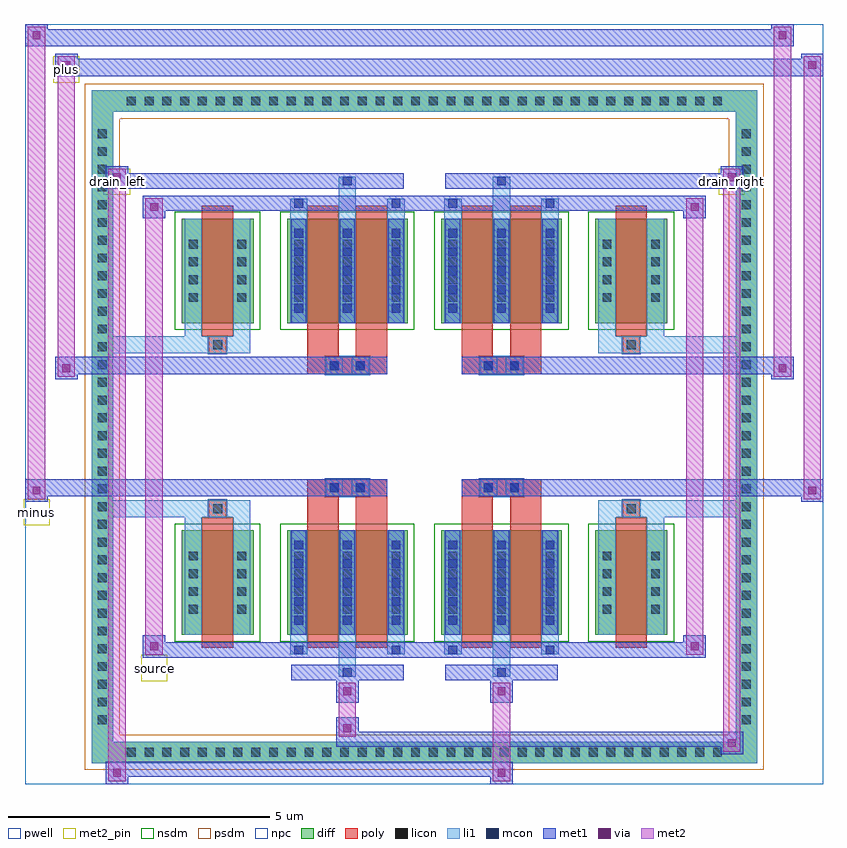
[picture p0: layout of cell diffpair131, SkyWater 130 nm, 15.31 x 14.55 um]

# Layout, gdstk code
import gdstk
lib = gdstk.Library(unit=1e-6, precision=5e-09)
def R(c, l, rs):  # rectangles x0, y0, x1, y1
    for r in rs: c.add(gdstk.rectangle(r[:2], r[2:], *l))
def A(c, l, x, y, w, h, nx, ny, dx, dy):  # array of equal rectangles
    R(c, l, [(x+i*dx, y+j*dy, x+i*dx+w, y+j*dy+h) for i in range(nx) for j in range(ny)])
def P(c, l, *ps):  # polygons
    for p in ps: c.add(gdstk.Polygon(p, *l))
pwell = (64, 44)
diff = (65, 20)
poly = (66, 20)
licon = (66, 44)
li1 = (67, 20)
mcon = (67, 44)
met1 = (68, 20)
via = (68, 44)
met2_pin = (69, 16)
met2 = (69, 20)
nsdm = (93, 44)
psdm = (94, 20)
npc = (95, 20)

diffpair131 = lib.new_cell('diffpair131')
R(diffpair131, pwell, [(-7.64,-6.84,7.64,7.71), (-4.96,-5.03,-0.01,-0.805), (0.01,-5.03,4.96,-0.805), (-4.96,0.805,-0.01,5.03), (0.01,0.805,4.96,5.03)])
A(diffpair131, diff, -5.815, -6.44, 0.41, 0.41, 34, 2, 0.34, 12.47)
A(diffpair131, diff, -6.37, -5.815, 0.41, 0.41, 1, 34, 0, 0.34)
A(diffpair131, diff, 5.96, -5.815, 0.41, 0.41, 1, 34, 0, 0.34)
R(diffpair131, diff, [(-5.815,-6.44,5.815,-6.03), (-6.37,-5.815,-5.96,5.815), (5.96,-5.815,6.37,5.815), (-4.65,-3.985,-3.27,-1.985), (-2.63,-3.985,-0.32,-1.985), (0.32,-3.985,2.63,-1.985), (3.27,-3.985,4.65,-1.985), (-4.65,1.985,-3.27,3.985), (-2.63,1.985,-0.32,3.985), (0.32,1.985,2.63,3.985), (3.27,1.985,4.65,3.985), (-5.815,6.03,5.815,6.44)])
P(diffpair131, diff, [(6.37,6.44),(-6.37,6.44),(-6.37,-6.03),(-5.96,-6.03),(-5.96,6.03),(5.96,6.03),(5.96,-6.03),(-5.96,-6.03),(-6.37,-6.03),(-6.37,-6.44),(6.37,-6.44)])
R(diffpair131, poly, [(-4.26,-4.235,-3.66,-1.735), (-2.24,-4.235,-1.64,-1.735), (-1.31,-4.235,-0.71,-1.735), (0.71,-4.235,1.31,-1.735), (1.64,-4.235,2.24,-1.735), (3.66,-4.235,4.26,-1.735), (-4.125,-1.735,-3.795,-1.405), (-4.125,-1.735,-3.795,-1.405), (-2.24,-1.735,-1.64,-1.335), (-1.31,-1.735,-0.71,-1.335), (0.71,-1.735,1.31,-1.335), (1.64,-1.735,2.24,-1.335), (3.795,-1.735,4.125,-1.405), (3.795,-1.735,4.125,-1.405), (-2.24,-1.335,-0.71,-1.005), (-1.89,-1.335,-1.56,-1.005), (-1.39,-1.335,-1.06,-1.005), (0.71,-1.335,2.24,-1.005), (1.06,-1.335,1.39,-1.005), (1.56,-1.335,1.89,-1.005), (-2.24,1.005,-0.71,1.335), (-1.89,1.005,-1.56,1.335), (-1.39,1.005,-1.06,1.335), (0.71,1.005,2.24,1.335), (1.06,1.005,1.39,1.335), (1.56,1.005,1.89,1.335), (-2.24,1.335,-1.64,1.735), (-1.31,1.335,-0.71,1.735), (0.71,1.335,1.31,1.735), (1.64,1.335,2.24,1.735), (-4.125,1.405,-3.795,1.735), (-4.125,1.405,-3.795,1.735), (3.795,1.405,4.125,1.735), (3.795,1.405,4.125,1.735), (-4.26,1.735,-3.66,4.235), (-2.24,1.735,-1.64,4.235), (-1.31,1.735,-0.71,4.235), (0.71,1.735,1.31,4.235), (1.64,1.735,2.24,4.235), (3.66,1.735,4.26,4.235)])
A(diffpair131, licon, -5.695, -6.32, 0.17, 0.17, 34, 2, 0.34, 12.47)
A(diffpair131, licon, -6.25, -5.695, 0.17, 0.17, 1, 34, 0, 0.34)
A(diffpair131, licon, 6.08, -5.695, 0.17, 0.17, 1, 34, 0, 0.34)
A(diffpair131, licon, -4.51, -3.58, 0.17, 0.17, 1, 4, 0, 0.34)
A(diffpair131, licon, -3.58, -3.58, 0.17, 0.17, 1, 4, 0, 0.34)
A(diffpair131, licon, -2.49, -3.58, 0.17, 0.17, 3, 4, 0.93, 0.34)
A(diffpair131, licon, 0.46, -3.58, 0.17, 0.17, 3, 4, 0.93, 0.34)
A(diffpair131, licon, 3.41, -3.58, 0.17, 0.17, 1, 4, 0, 0.34)
A(diffpair131, licon, 4.34, -3.58, 0.17, 0.17, 1, 4, 0, 0.34)
A(diffpair131, licon, -4.51, 2.39, 0.17, 0.17, 1, 4, 0, 0.34)
A(diffpair131, licon, -3.58, 2.39, 0.17, 0.17, 1, 4, 0, 0.34)
A(diffpair131, licon, -2.49, 2.39, 0.17, 0.17, 3, 4, 0.93, 0.34)
A(diffpair131, licon, 0.46, 2.39, 0.17, 0.17, 3, 4, 0.93, 0.34)
A(diffpair131, licon, 3.41, 2.39, 0.17, 0.17, 1, 4, 0, 0.34)
A(diffpair131, licon, 4.34, 2.39, 0.17, 0.17, 1, 4, 0, 0.34)
R(diffpair131, licon, [(-4.045,-1.655,-3.875,-1.485), (3.875,-1.655,4.045,-1.485), (-1.81,-1.255,-1.64,-1.085), (-1.31,-1.255,-1.14,-1.085), (1.14,-1.255,1.31,-1.085), (1.64,-1.255,1.81,-1.085), (-1.81,1.085,-1.64,1.255), (-1.31,1.085,-1.14,1.255), (1.14,1.085,1.31,1.255), (1.64,1.085,1.81,1.255), (-4.045,1.485,-3.875,1.655), (3.875,1.485,4.045,1.655)])
A(diffpair131, li1, -5.775, -6.4, 0.33, 0.33, 34, 2, 0.34, 12.47)
A(diffpair131, li1, -6.33, -5.775, 0.33, 0.33, 1, 34, 0, 0.34)
A(diffpair131, li1, 6, -5.775, 0.33, 0.33, 1, 34, 0, 0.34)
A(diffpair131, li1, -2.57, -3.985, 0.33, 2, 3, 2, 0.93, 5.97)
A(diffpair131, li1, 0.38, -3.985, 0.33, 2, 3, 2, 0.93, 5.97)
A(diffpair131, li1, -2.49, -3.79, 0.17, 0.17, 3, 5, 0.93, 0.36)
A(diffpair131, li1, -2.49, -3.79, 0.17, 1.61, 3, 2, 0.93, 5.97)
A(diffpair131, li1, 0.46, -3.79, 0.17, 0.17, 3, 5, 0.93, 0.36)
A(diffpair131, li1, 0.46, -3.79, 0.17, 1.61, 3, 2, 0.93, 5.97)
A(diffpair131, li1, -4.59, -3.66, 0.33, 0.33, 1, 4, 0, 0.34)
A(diffpair131, li1, -3.66, -3.66, 0.33, 0.33, 1, 4, 0, 0.34)
A(diffpair131, li1, -2.57, -3.66, 0.33, 0.33, 3, 4, 0.93, 0.34)
A(diffpair131, li1, 0.38, -3.66, 0.33, 0.33, 3, 4, 0.93, 0.34)
A(diffpair131, li1, 3.33, -3.66, 0.33, 0.33, 1, 4, 0, 0.34)
A(diffpair131, li1, 4.26, -3.66, 0.33, 0.33, 1, 4, 0, 0.34)
A(diffpair131, li1, -2.49, 2.18, 0.17, 0.17, 3, 5, 0.93, 0.36)
A(diffpair131, li1, 0.46, 2.18, 0.17, 0.17, 3, 5, 0.93, 0.36)
A(diffpair131, li1, -4.59, 2.31, 0.33, 0.33, 1, 4, 0, 0.34)
A(diffpair131, li1, -3.66, 2.31, 0.33, 0.33, 1, 4, 0, 0.34)
A(diffpair131, li1, -2.57, 2.31, 0.33, 0.33, 3, 4, 0.93, 0.34)
A(diffpair131, li1, 0.38, 2.31, 0.33, 0.33, 3, 4, 0.93, 0.34)
A(diffpair131, li1, 3.33, 2.31, 0.33, 0.33, 1, 4, 0, 0.34)
A(diffpair131, li1, 4.26, 2.31, 0.33, 0.33, 1, 4, 0, 0.34)
R(diffpair131, li1, [(-6.37,-6.44,-5.96,-6.03), (-6.37,-6.44,-5.96,-6.03), (-5.96,-6.44,5.96,-6.03), (5.96,-6.44,6.37,-6.03), (5.96,-6.44,6.37,-6.03), (-6.37,-6.03,-5.96,6.03), (5.96,-6.03,6.37,6.03), (-1.64,-4.79,-1.31,-3.985), (-1.56,-4.79,-1.39,-4.62), (1.31,-4.79,1.64,-3.985), (1.39,-4.79,1.56,-4.62), (-2.57,-4.36,-2.24,-3.985), (-2.49,-4.36,-2.32,-4.19), (-0.71,-4.36,-0.38,-3.985), (-0.63,-4.36,-0.46,-4.19), (0.38,-4.36,0.71,-3.985), (0.46,-4.36,0.63,-4.19), (2.24,-4.36,2.57,-3.985), (2.32,-4.36,2.49,-4.19), (-4.59,-3.985,-4.26,-1.985), (-3.66,-3.985,-3.33,-1.985), (3.33,-3.985,3.66,-1.985), (4.26,-3.985,4.59,-1.985), (-4.59,-1.985,-4.26,-1.405), (-3.66,-1.985,-3.33,-1.405), (3.33,-1.985,3.66,-1.405), (4.26,-1.985,4.59,-1.405), (-6.37,-1.735,-4.125,-1.405), (-4.59,-1.735,-4.125,-1.405), (-4.125,-1.735,-3.795,-1.405), (-3.795,-1.735,-3.33,-1.405), (3.33,-1.735,3.795,-1.405), (3.795,-1.735,4.125,-1.405), (3.795,-1.735,6.37,-1.405), (4.125,-1.735,4.59,-1.405), (-1.89,-1.335,-1.56,-1.005), (-1.39,-1.335,-1.06,-1.005), (1.06,-1.335,1.39,-1.005), (1.56,-1.335,1.89,-1.005), (-1.89,1.005,-1.56,1.335), (-1.39,1.005,-1.06,1.335), (1.06,1.005,1.39,1.335), (1.56,1.005,1.89,1.335), (-6.37,1.405,-4.125,1.735), (-4.59,1.405,-4.125,1.735), (-4.59,1.405,-4.26,1.985), (-4.125,1.405,-3.795,1.735), (-3.795,1.405,-3.33,1.735), (-3.66,1.405,-3.33,1.985), (3.33,1.405,3.795,1.735), (3.33,1.405,3.66,1.985), (3.795,1.405,4.125,1.735), (3.795,1.405,6.37,1.735), (4.125,1.405,4.59,1.735), (4.26,1.405,4.59,1.985), (-4.59,1.985,-4.26,3.985), (-3.66,1.985,-3.33,3.985), (3.33,1.985,3.66,3.985), (4.26,1.985,4.59,3.985), (-2.57,3.985,-2.24,4.36), (-1.64,3.985,-1.31,4.79), (-0.71,3.985,-0.38,4.36), (0.38,3.985,0.71,4.36), (1.31,3.985,1.64,4.79), (2.24,3.985,2.57,4.36), (-2.49,4.19,-2.32,4.36), (-0.63,4.19,-0.46,4.36), (0.46,4.19,0.63,4.36), (2.32,4.19,2.49,4.36), (-1.56,4.62,-1.39,4.79), (1.39,4.62,1.56,4.79), (-6.37,6.03,-5.96,6.44), (-6.37,6.03,-5.96,6.44), (-5.96,6.03,5.96,6.44), (5.96,6.03,6.37,6.44), (5.96,6.03,6.37,6.44)])
A(diffpair131, mcon, -2.49, -3.79, 0.17, 0.17, 3, 5, 0.93, 0.36)
A(diffpair131, mcon, 0.46, -3.79, 0.17, 0.17, 3, 5, 0.93, 0.36)
A(diffpair131, mcon, -2.49, 2.18, 0.17, 0.17, 3, 5, 0.93, 0.36)
A(diffpair131, mcon, 0.46, 2.18, 0.17, 0.17, 3, 5, 0.93, 0.36)
R(diffpair131, mcon, [(-1.56,-4.79,-1.39,-4.62), (1.39,-4.79,1.56,-4.62), (-2.49,-4.36,-2.32,-4.19), (-0.63,-4.36,-0.46,-4.19), (0.46,-4.36,0.63,-4.19), (2.32,-4.36,2.49,-4.19), (-1.81,-1.255,-1.64,-1.085), (-1.31,-1.255,-1.14,-1.085), (1.14,-1.255,1.31,-1.085), (1.64,-1.255,1.81,-1.085), (-1.81,1.085,-1.64,1.255), (-1.31,1.085,-1.14,1.255), (1.14,1.085,1.31,1.255), (1.64,1.085,1.81,1.255), (-2.49,4.19,-2.32,4.36), (-0.63,4.19,-0.46,4.36), (0.46,4.19,0.63,4.36), (2.32,4.19,2.49,4.36), (-1.56,4.62,-1.39,4.79), (1.39,4.62,1.56,4.79)])
A(diffpair131, met1, -2.55, -3.985, 0.29, 2, 3, 2, 0.93, 5.97)
A(diffpair131, met1, 0.4, -3.985, 0.29, 2, 3, 2, 0.93, 5.97)
A(diffpair131, met1, -2.55, -3.85, 0.29, 0.29, 3, 5, 0.93, 0.36)
A(diffpair131, met1, 0.4, -3.85, 0.29, 0.29, 3, 5, 0.93, 0.36)
A(diffpair131, met1, -2.55, 2.12, 0.29, 0.29, 3, 5, 0.93, 0.36)
A(diffpair131, met1, 0.4, 2.12, 0.29, 0.29, 3, 5, 0.93, 0.36)
R(diffpair131, met1, [(-6.1,-6.84,-5.67,-6.41), (1.26,-6.84,1.69,-6.41), (-6.1,-6.7,1.69,-6.41), (5.67,-6.27,6.1,-5.84), (-1.69,-6.13,6.1,-5.84), (-1.69,-5.99,-1.26,-5.56), (-1.69,-5.28,-1.26,-4.85), (1.26,-5.28,1.69,-4.85), (-2.55,-4.85,-0.4,-4.56), (-1.62,-4.85,-1.33,-4.56), (0.4,-4.85,2.55,-4.56), (1.33,-4.85,1.62,-4.56), (-5.39,-4.42,-4.96,-3.99), (-5.39,-4.42,-2.55,-4.13), (-2.55,-4.42,-2.26,-4.13), (-2.55,-4.42,-0.4,-4.13), (-0.69,-4.42,-0.4,-4.13), (-0.4,-4.42,0.4,-4.13), (0.4,-4.42,0.69,-4.13), (0.4,-4.42,2.55,-4.13), (2.26,-4.42,2.55,-4.13), (2.55,-4.42,5.39,-4.13), (4.96,-4.42,5.39,-3.99), (-7.64,-1.435,-7.21,-1.005), (7.21,-1.435,7.64,-1.005), (-7.64,-1.335,-0.71,-1.005), (-2.24,-1.335,-0.71,-1.005), (0.71,-1.335,2.24,-1.005), (0.71,-1.335,7.64,-1.005), (-1.87,-1.315,-1.58,-1.025), (-1.37,-1.315,-1.08,-1.025), (1.08,-1.315,1.37,-1.025), (1.58,-1.315,1.87,-1.025), (-7.07,0.905,-6.64,1.335), (6.64,0.905,7.07,1.335), (-7.07,1.005,-2.24,1.335), (-2.24,1.005,-0.71,1.335), (0.71,1.005,2.24,1.335), (2.24,1.005,7.07,1.335), (-1.87,1.025,-1.58,1.315), (-1.37,1.025,-1.08,1.315), (1.08,1.025,1.37,1.315), (1.58,1.025,1.87,1.315), (-5.39,3.99,-4.96,4.42), (4.96,3.99,5.39,4.42), (-5.39,4.13,-2.55,4.42), (-2.55,4.13,-2.26,4.42), (-2.55,4.13,-0.4,4.42), (-0.69,4.13,-0.4,4.42), (-0.4,4.13,0.4,4.42), (0.4,4.13,0.69,4.42), (0.4,4.13,2.55,4.42), (2.26,4.13,2.55,4.42), (2.55,4.13,5.39,4.42), (-6.1,4.56,-5.67,4.99), (-6.1,4.56,-2.55,4.85), (-2.55,4.56,-0.4,4.85), (-1.62,4.56,-1.33,4.85), (0.4,4.56,2.55,4.85), (1.33,4.56,1.62,4.85), (2.55,4.56,6.1,4.85), (5.67,4.56,6.1,4.99), (-7.07,6.71,-6.64,7.14), (-7.07,6.71,-4.96,7.04), (-4.96,6.71,4.96,7.04), (4.96,6.71,7.64,7.04), (7.21,6.71,7.64,7.14), (-7.64,7.28,-7.21,7.71), (-7.64,7.28,-4.96,7.61), (-4.96,7.28,4.96,7.61), (4.96,7.28,7.07,7.61), (6.64,7.28,7.07,7.71)])
R(diffpair131, via, [(-5.96,-6.7,-5.81,-6.55), (1.4,-6.7,1.55,-6.55), (5.81,-6.13,5.96,-5.98), (-1.55,-5.85,-1.4,-5.7), (-1.55,-5.14,-1.4,-4.99), (1.4,-5.14,1.55,-4.99), (-5.25,-4.28,-5.1,-4.13), (5.1,-4.28,5.25,-4.13), (-7.5,-1.295,-7.35,-1.145), (7.35,-1.295,7.5,-1.145), (-6.93,1.045,-6.78,1.195), (6.78,1.045,6.93,1.195), (-5.25,4.13,-5.1,4.28), (5.1,4.13,5.25,4.28), (-5.96,4.7,-5.81,4.85), (5.81,4.7,5.96,4.85), (-6.93,6.85,-6.78,7), (7.35,6.85,7.5,7), (-7.5,7.42,-7.35,7.57), (6.78,7.42,6.93,7.57)])
R(diffpair131, met2_pin, [(-5.425,-4.87,-4.925,-4.37), (-7.675,-1.885,-7.175,-1.385), (-6.135,4.44,-5.635,4.94), (5.635,4.44,6.135,4.94), (-7.105,6.59,-6.605,7.09)])
R(diffpair131, met2, [(-6.05,-6.79,-5.72,-6.46), (-6.05,-6.79,-5.72,4.94), (1.31,-6.79,1.64,-6.46), (1.31,-6.46,1.64,-5.23), (5.72,-6.22,6.05,-5.89), (5.72,-6.22,6.05,4.94), (-1.64,-5.94,-1.31,-5.61), (-1.64,-5.61,-1.31,-5.23), (-1.64,-5.23,-1.31,-4.9), (1.31,-5.23,1.64,-4.9), (-5.34,-4.37,-5.01,-4.04), (-5.34,-4.37,-5.01,4.37), (5.01,-4.37,5.34,-4.04), (5.01,-4.37,5.34,4.37), (-7.59,-1.385,-7.26,-1.055), (-7.59,-1.385,-7.26,7.66), (7.26,-1.385,7.59,-1.055), (7.26,-1.385,7.59,7.09), (-7.02,0.955,-6.69,1.285), (-7.02,0.955,-6.69,7.09), (6.69,0.955,7.02,1.285), (6.69,0.955,7.02,7.66), (-5.34,4.04,-5.01,4.37), (5.01,4.04,5.34,4.37), (-6.05,4.61,-5.72,4.94), (5.72,4.61,6.05,4.94), (-7.02,6.76,-6.69,7.09), (7.26,6.76,7.59,7.09), (-7.59,7.33,-7.26,7.66), (6.69,7.33,7.02,7.66)])
P(diffpair131, met2, [(7.59,-1.385),(7.59,-1.385),(7.59,-1.055),(7.59,-1.055)],
  [(7.59,6.76),(7.59,6.76),(7.59,7.09),(7.59,7.09)],
  [(-7.26,-1.385),(-7.26,-1.385),(-7.26,-1.055),(-7.26,-1.055)],
  [(-7.26,7.33),(-7.26,7.33),(-7.26,7.66),(-7.26,7.66)],
  [(7.02,0.955),(7.02,0.955),(7.02,1.285),(7.02,1.285)],
  [(7.02,7.33),(7.02,7.33),(7.02,7.66),(7.02,7.66)],
  [(-6.69,0.955),(-6.69,0.955),(-6.69,1.285),(-6.69,1.285)],
  [(-6.69,6.76),(-6.69,6.76),(-6.69,7.09),(-6.69,7.09)],
  [(-5.72,-6.79),(-5.72,-6.79),(-5.72,-6.46),(-5.72,-6.46)],
  [(-5.72,4.61),(-5.72,4.61),(-5.72,4.94),(-5.72,4.94)],
  [(6.05,-6.22),(6.05,-6.22),(6.05,-5.89),(6.05,-5.89)],
  [(6.05,4.61),(6.05,4.61),(6.05,4.94),(6.05,4.94)],
  [(-5.01,-4.37),(-5.01,-4.37),(-5.01,-4.04),(-5.01,-4.04)],
  [(-5.01,4.04),(-5.01,4.04),(-5.01,4.37),(-5.01,4.37)],
  [(5.34,-4.37),(5.34,-4.37),(5.34,-4.04),(5.34,-4.04)],
  [(5.34,4.04),(5.34,4.04),(5.34,4.37),(5.34,4.37)])
R(diffpair131, nsdm, [(-4.78,-4.115,-3.14,-1.855), (-2.76,-4.115,-0.19,-1.855), (0.19,-4.115,2.76,-1.855), (3.14,-4.115,4.78,-1.855), (-4.78,1.855,-3.14,4.115), (-2.76,1.855,-0.19,4.115), (0.19,1.855,2.76,4.115), (3.14,1.855,4.78,4.115)])
P(diffpair131, psdm, [(6.5,6.57),(-6.5,6.57),(-6.5,-5.9),(-5.83,-5.9),(-5.83,5.9),(5.83,5.9),(5.83,-5.9),(-5.83,-5.9),(-6.5,-5.9),(-6.5,-6.57),(6.5,-6.57)])
R(diffpair131, npc, [(-4.145,-1.755,-3.775,-1.385), (3.775,-1.755,4.145,-1.385), (-1.91,-1.355,-1.54,-0.985), (-1.91,-1.355,-1.04,-0.985), (-1.91,-1.355,-1.04,-0.985), (-1.41,-1.355,-1.04,-0.985), (1.04,-1.355,1.41,-0.985), (1.04,-1.355,1.91,-0.985), (1.04,-1.355,1.91,-0.985), (1.54,-1.355,1.91,-0.985), (-1.91,0.985,-1.54,1.355), (-1.91,0.985,-1.04,1.355), (-1.91,0.985,-1.04,1.355), (-1.41,0.985,-1.04,1.355), (1.04,0.985,1.41,1.355), (1.04,0.985,1.91,1.355), (1.04,0.985,1.91,1.355), (1.54,0.985,1.91,1.355), (-4.145,1.385,-3.775,1.755), (3.775,1.385,4.145,1.755)])
diffpair131.add(gdstk.Label('minus', (-7.425,-1.635), layer=69, texttype=5))
diffpair131.add(gdstk.Label('drain_right', (5.885,4.69), layer=69, texttype=5))
diffpair131.add(gdstk.Label('drain_left', (-5.885,4.69), layer=69, texttype=5))
diffpair131.add(gdstk.Label('source', (-5.175,-4.62), layer=69, texttype=5))
diffpair131.add(gdstk.Label('plus', (-6.855,6.84), layer=69, texttype=5))

lib.write_gds('diffpair131.gds')
